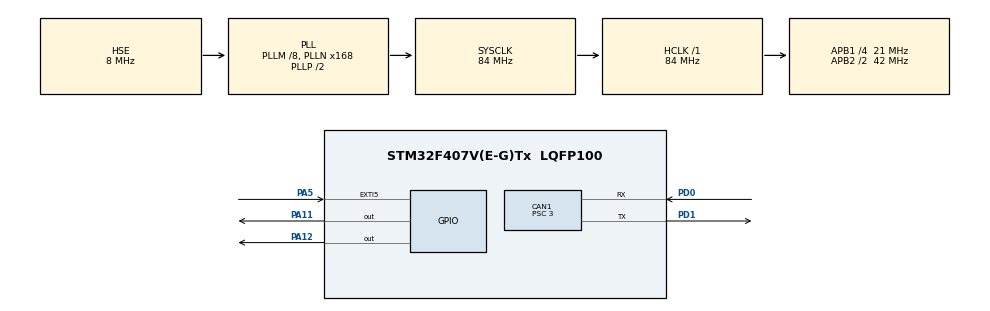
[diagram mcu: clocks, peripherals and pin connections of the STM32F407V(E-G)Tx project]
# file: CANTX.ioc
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CAN1.BS1=CAN_BS1_11TQ
CAN1.BS2=CAN_BS2_2TQ
CAN1.CalculateBaudRate=500000
CAN1.CalculateTimeBit=2000
CAN1.CalculateTimeQuantum=142.85714285714286
CAN1.Mode=CAN_MODE_NORMAL
CAN1.Prescaler=3
Mcu.Family=STM32F4
Mcu.Name=STM32F407V(E-G)Tx
Mcu.Package=LQFP100
NVIC.CAN1_RX0_IRQn=true\:0\:0\:false\:false\:true\:true\:true\:true
NVIC.PriorityGroup=NVIC_PRIORITYGROUP_4
PA11.Signal=GPIO_Output
PA12.Signal=GPIO_Output
PA13.Mode=Serial_Wire
PA13.Signal=SYS_JTMS-SWDIO
PA14.Mode=Serial_Wire
PA14.Signal=SYS_JTCK-SWCLK
PA5.Signal=GPXTI5
PD0.GPIO_PuPd=GPIO_PULLUP
PD0.Mode=CAN_Activate
PD0.Signal=CAN1_RX
PD1.Mode=CAN_Activate
PD1.Signal=CAN1_TX
PH0-OSC_IN.Mode=HSE-External-Oscillator
PH0-OSC_IN.Signal=RCC_OSC_IN
PH1-OSC_OUT.Mode=HSE-External-Oscillator
PH1-OSC_OUT.Signal=RCC_OSC_OUT
ProjectManager.HeapSize=0x200
ProjectManager.StackSize=0x400
ProjectManager.TargetToolchain=MDK-ARM V5.32
RCC.48MHZClocksFreq_Value=42000000
RCC.AHBFreq_Value=84000000
RCC.APB1CLKDivider=RCC_HCLK_DIV4
RCC.APB1Freq_Value=21000000
RCC.APB1TimFreq_Value=42000000
RCC.APB2CLKDivider=RCC_HCLK_DIV2
RCC.APB2Freq_Value=42000000
RCC.APB2TimFreq_Value=84000000
RCC.CortexFreq_Value=84000000
RCC.HCLKFreq_Value=84000000
RCC.HSE_VALUE=8000000
RCC.HSI_VALUE=16000000
RCC.LSE_VALUE=32768
RCC.PLLM=8
RCC.PLLN=168
RCC.PLLSourceVirtual=RCC_PLLSOURCE_HSE
RCC.SYSCLKFreq_VALUE=84000000
RCC.SYSCLKSource=RCC_SYSCLKSOURCE_PLLCLK
RCC.VCOOutputFreq_Value=168000000
board=custom

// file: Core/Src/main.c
/* USER CODE BEGIN Header */
/**
  ******************************************************************************
  * @file           : main.c
  * @brief          : Main program body
  ******************************************************************************
  * @attention
  *
  * Copyright (c) 2025 STMicroelectronics.
  * All rights reserved.
  *
  * This software is licensed under terms that can be found in the LICENSE file
  * in the root directory of this software component.
  * If no LICENSE file comes with this software, it is provided AS-IS.
  *
  ******************************************************************************
  */
/* USER CODE END Header */
#include "main.h"

CAN_HandleTypeDef hcan1;

/* USER CODE BEGIN PV */
CAN_TxHeaderTypeDef TxHeader;
CAN_RxHeaderTypeDef RxHeader;
uint32_t TxMailbox;
HAL_StatusTypeDef status;
HAL_StatusTypeDef status1;
uint8_t TxData[8];
uint8_t RxData[8];
uint32_t can_error;
int datacheck = 0;
uint16_t count = 0;
void HAL_CAN_RxFifo0MsgPendingCallback(CAN_HandleTypeDef *hcan)
{
	if(hcan->Instance == CAN1)
	{
		count++;
		status1 = HAL_CAN_GetRxMessage(hcan, CAN_RX_FIFO0, &RxHeader, RxData);
		if (RxHeader.DLC == 2)
		{
			datacheck = 1;
		}
	}

}

//void HAL_CAN_RxFifo0MsgPendingCallback(CAN_HandleTypeDef *hcan)
//{
//    if (hcan->Instance == CAN1)  // Ki?m tra xem ng?t d?n t? CAN1
//    {
//        // Р?c d? li?u t? FIFO0
//        if (HAL_CAN_GetRxMessage(hcan, CAN_RX_FIFO0, &RxHeader, RxData) == HAL_OK)
//        {
//            // Ki?m tra ID nh?n du?c vа x? lэ d? li?u

//        }
//    }
//}
/* USER CODE END PV */

void SystemClock_Config(void);
static void MX_GPIO_Init(void);
static void MX_CAN1_Init(void);

int main(void)
{

  /* MCU Configuration--------------------------------------------------------*/

  /* Reset of all peripherals, Initializes the Flash interface and the Systick. */
  HAL_Init();

  /* Configure the system clock */
  SystemClock_Config();

  /* Initialize all configured peripherals */
  MX_GPIO_Init();
  MX_CAN1_Init();
  /* USER CODE BEGIN 2 */
	CAN_FilterTypeDef canfilterconfig;

	canfilterconfig.FilterActivation = CAN_FILTER_ENABLE;
	canfilterconfig.FilterBank = 1;  // anything between 0 to SlaveStartFilterBank
	canfilterconfig.FilterFIFOAssignment = CAN_RX_FIFO0;
	canfilterconfig.FilterIdHigh = 0x601<<5;
	//canfilterconfig.FilterIdHigh = 0x0000;
	canfilterconfig.FilterIdLow = 0x0000;
	canfilterconfig.FilterMaskIdHigh = 0x7FF << 5;
	//canfilterconfig.FilterMaskIdHigh = 0x0;
	canfilterconfig.FilterMaskIdLow = 0x0;
	canfilterconfig.FilterMode = CAN_FILTERMODE_IDMASK;
	canfilterconfig.FilterScale = CAN_FILTERSCALE_32BIT;
	canfilterconfig.SlaveStartFilterBank = 14;  // 13 to 27 are assigned to slave CAN (CAN 2) OR 0 to 12 are assgned to CAN1

	HAL_CAN_ConfigFilter(&hcan1, &canfilterconfig);

	HAL_CAN_Start(&hcan1);

	HAL_CAN_ActivateNotification(&hcan1, CAN_IT_RX_FIFO0_MSG_PENDING);
	uint32_t now = 0, last_tx = 0;
  /* USER CODE END 2 */

  /* Infinite loop */
  /* USER CODE BEGIN WHILE */
  while (1)
  {
		now = HAL_GetTick();
		if(now - last_tx >= 1000)
		{
//			TxHeader.DLC = 2;
//			TxHeader.ExtId = 0;
//			TxHeader.IDE = CAN_ID_STD;
//			TxHeader.RTR = CAN_RTR_DATA;
//			TxHeader.StdId = 0x601;
//			TxHeader.TransmitGlobalTime = DISABLE;
//			TxData[0] = 100;   // ms Delay
//			TxData[1] = 40;    // loop rep
//			status = HAL_CAN_AddTxMessage(&hcan1, &TxHeader, TxData, &TxMailbox);
//			can_error = HAL_CAN_GetError(&hcan1);
//
//			last_tx = now;
			if (datacheck)
			{
				// blink the LED
				for (int i=0; i<RxData[1]; i++)
				{
					HAL_GPIO_TogglePin(GPIOA, GPIO_PIN_5);
					HAL_Delay(RxData[0]);
				}
				datacheck = 0;
			}
		}
    /* USER CODE END WHILE */

  }
}

void SystemClock_Config(void)
{
  RCC_OscInitTypeDef RCC_OscInitStruct = {0};
  RCC_ClkInitTypeDef RCC_ClkInitStruct = {0};

  /** Configure the main internal regulator output voltage
  */
  __HAL_RCC_PWR_CLK_ENABLE();
  __HAL_PWR_VOLTAGESCALING_CONFIG(PWR_REGULATOR_VOLTAGE_SCALE1);

  /** Initializes the RCC Oscillators according to the specified parameters
  * in the RCC_OscInitTypeDef structure.
  */
  RCC_OscInitStruct.OscillatorType = RCC_OSCILLATORTYPE_HSE;
  RCC_OscInitStruct.HSEState = RCC_HSE_ON;
  RCC_OscInitStruct.PLL.PLLState = RCC_PLL_ON;
  RCC_OscInitStruct.PLL.PLLSource = RCC_PLLSOURCE_HSE;
  RCC_OscInitStruct.PLL.PLLM = 8;
  RCC_OscInitStruct.PLL.PLLN = 168;
  RCC_OscInitStruct.PLL.PLLP = RCC_PLLP_DIV2;
  RCC_OscInitStruct.PLL.PLLQ = 4;
  if (HAL_RCC_OscConfig(&RCC_OscInitStruct) != HAL_OK)
  {
    Error_Handler();
  }

  /** Initializes the CPU, AHB and APB buses clocks
  */
  RCC_ClkInitStruct.ClockType = RCC_CLOCKTYPE_HCLK|RCC_CLOCKTYPE_SYSCLK
                              |RCC_CLOCKTYPE_PCLK1|RCC_CLOCKTYPE_PCLK2;
  RCC_ClkInitStruct.SYSCLKSource = RCC_SYSCLKSOURCE_PLLCLK;
  RCC_ClkInitStruct.AHBCLKDivider = RCC_SYSCLK_DIV1;
  RCC_ClkInitStruct.APB1CLKDivider = RCC_HCLK_DIV4;
  RCC_ClkInitStruct.APB2CLKDivider = RCC_HCLK_DIV2;

  if (HAL_RCC_ClockConfig(&RCC_ClkInitStruct, FLASH_LATENCY_2) != HAL_OK)
  {
    Error_Handler();
  }
}

static void MX_CAN1_Init(void)
{

  hcan1.Instance = CAN1;
  hcan1.Init.Prescaler = 3;
  hcan1.Init.Mode = CAN_MODE_NORMAL;
  hcan1.Init.SyncJumpWidth = CAN_SJW_1TQ;
  hcan1.Init.TimeSeg1 = CAN_BS1_11TQ;
  hcan1.Init.TimeSeg2 = CAN_BS2_2TQ;
  hcan1.Init.TimeTriggeredMode = DISABLE;
  hcan1.Init.AutoBusOff = DISABLE;
  hcan1.Init.AutoWakeUp = DISABLE;
  hcan1.Init.AutoRetransmission = DISABLE;
  hcan1.Init.ReceiveFifoLocked = DISABLE;
  hcan1.Init.TransmitFifoPriority = DISABLE;
  if (HAL_CAN_Init(&hcan1) != HAL_OK)
  {
    Error_Handler();
  }

}

static void MX_GPIO_Init(void)
{
  GPIO_InitTypeDef GPIO_InitStruct = {0};

  /* GPIO Ports Clock Enable */
  __HAL_RCC_GPIOH_CLK_ENABLE();
  __HAL_RCC_GPIOA_CLK_ENABLE();
  __HAL_RCC_GPIOD_CLK_ENABLE();

  /*Configure GPIO pin Output Level */
  HAL_GPIO_WritePin(GPIOA, GPIO_PIN_11|GPIO_PIN_12, GPIO_PIN_RESET);

  /*Configure GPIO pin : PA5 */
  GPIO_InitStruct.Pin = GPIO_PIN_5;
  GPIO_InitStruct.Mode = GPIO_MODE_IT_RISING;
  GPIO_InitStruct.Pull = GPIO_NOPULL;
  HAL_GPIO_Init(GPIOA, &GPIO_InitStruct);

  /*Configure GPIO pins : PA11 PA12 */
  GPIO_InitStruct.Pin = GPIO_PIN_11|GPIO_PIN_12;
  GPIO_InitStruct.Mode = GPIO_MODE_OUTPUT_PP;
  GPIO_InitStruct.Pull = GPIO_NOPULL;
  GPIO_InitStruct.Speed = GPIO_SPEED_FREQ_LOW;
  HAL_GPIO_Init(GPIOA, &GPIO_InitStruct);

}

void Error_Handler(void)
{
  __disable_irq();
  while (1)
  {
  }
}
